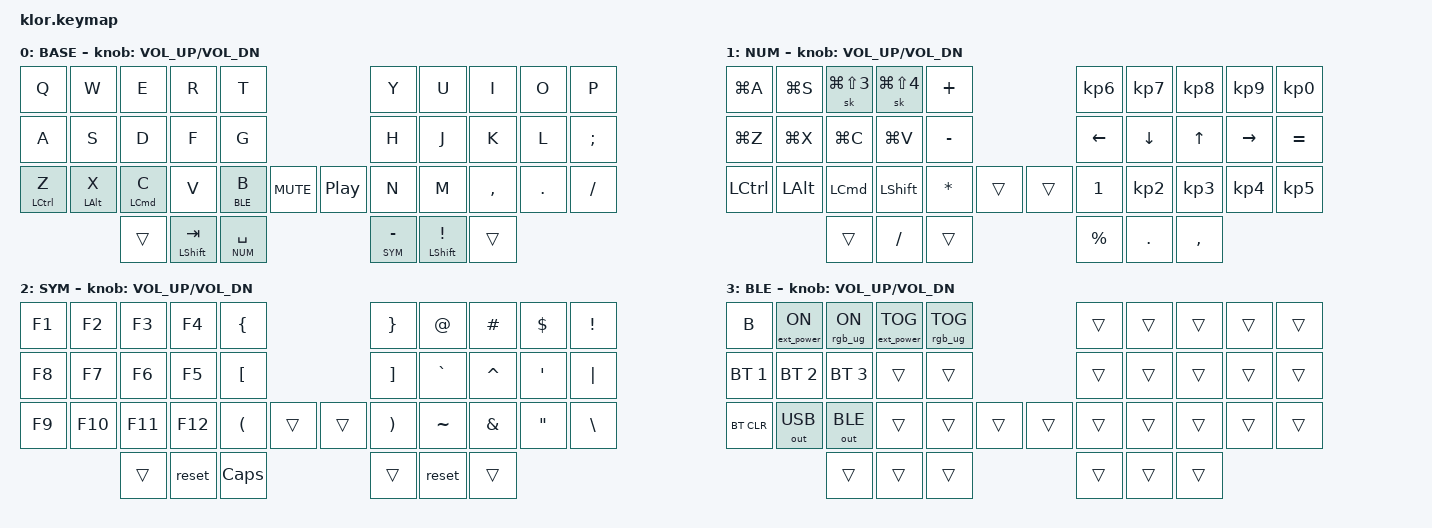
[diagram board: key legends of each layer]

//                               █         █    █            ▄▄▄▀▀▀▀▀▀▄▄▄        █▀▀▀▀▀▀▀▀▀▀█
//                               █        █     █          ▄▀            ▀▄      █          █
//                               █       █      █        ▄▀                ▀▄    █          █
//                               █      █       █        █                  █    █          █
//                               █     █        █       █                    █   █          █
//                               █    █         █       █                    █   █▄▄▄▄▄▄▄▄▄▄█
//                               █   █ █        █       █                    █   █      █
//                               █  █   █       █        █                  █    █       █
//                               █ █     █      █        ▀▄                ▄▀    █        █
//                               ██       █     █          ▀▄            ▄▀      █         █
//                               █         █    █▄▄▄▄▄▄▄▄    ▀▀▀▄▄▄▄▄▄▀▀▀        █          █
//
// ▄▄▄▄▄▄▄▄▄▄▄▄▄▄▄▄▄▄▄▄▄▄▄▄▄▄▄▄▄▄▄▄▄▄▄▄▄▄▄▄▄▄▄▄▄▄▄▄▄▄▄▄▄▄▄▄▄▄▄▄▄▄▄▄▄▄▄▄▄▄▄▄▄▄▄▄▄▄▄▄▄▄▄▄▄▄▄▄▄▄▄▄▄▄▄▄▄▄▄▄▄▄▄▄▄▄▄▄▄▄▄▄▄▄▄▄▄▄▄▄▄▄▄▄▄
       
#include <behaviors.dtsi>
#include <dt-bindings/zmk/keys.h>
#include <dt-bindings/zmk/bt.h>
#include <dt-bindings/zmk/outputs.h>
#include <dt-bindings/zmk/ext_power.h>
#include <dt-bindings/zmk/rgb.h>


#define BASE   0
#define NUM    1
#define SYM    2
#define BLE    3

/ {
    behaviors {
        hm: homerow_mods {
            compatible = "zmk,behavior-hold-tap";
            label = "HOMEROW_MODS";
            #binding-cells = <2>;
            tapping-term-ms = <300>;
            quick_tap_ms = <0>;
            flavor = "tap-preferred";
            bindings = <&kp>, <&kp>;
        };

    };

     combos {
            compatible = "zmk,combos";
     //layers 0
            combo_esc0 {
                timeout-ms = <50>;
                key-positions = <1 2>;
                bindings = <&kp ESC>;
                layers = <0>;
            };
            combo_tab0{
                timeout-ms = <50>;
                key-positions = <11 12>;
                bindings = <&kp TAB>;
                layers = <0>;
             };
       //BS_ENT
            combo_bsp0{
                timeout-ms = <50>;
                key-positions = <16 17>;
                bindings = <&kp BSPC>;
                layers = <0>;
            };
            combo_ent0{
                timeout-ms = <50>;
                key-positions = <17 18>;
                bindings = <&kp ENTER>;
                layers = <0>;
            };
         //Page UP_DN
             combo_pageup0{
                timeout-ms = <50>;
                key-positions = <5 6>;
                bindings = <&kp PG_UP>;
                layers = <0>;
            };
            combo_pagedown0{
                timeout-ms = <50>;
                key-positions = <27 28>;
                bindings = <&kp PG_DN>;
                layers = <0>;
            };
            
      //layers 1
         //BS_ENT
            combo_bsp1{
                timeout-ms = <50>;
                key-positions = <16 17>;
                bindings = <&kp BSPC>;
                layers = <1>;
            };
            combo_ent1{
                timeout-ms = <50>;
                key-positions = <17 18>;
                bindings = <&kp ENTER>;
                layers = <1>;
            };
          //VOLUME_UP_DOWN - BRI_UP_DN
            combo_volup1{
                timeout-ms = <50>;
                key-positions = <5 6>;
                bindings = <&kp C_VOL_UP>;
                layers = <1>;
            };
            combo_voldn1{
                timeout-ms = <50>;
                key-positions = <27 28>;
                bindings = <&kp C_VOL_DN>;
                layers = <1>;
            };
           //BRI_UP_DN
            combo_briup1{
                timeout-ms = <50>;
                key-positions = <13 14>;
                bindings = <&kp C_BRI_DN>;
                layers = <1>;
            };
            combo_bridn1{
                timeout-ms = <50>;
                key-positions = <15 16>;
                bindings = <&kp C_BRI_UP>;
                layers = <1>;
            };
  
            
            
      //layers 2
          //BS_ENT
            combo_bsp2{
                timeout-ms = <50>;
                key-positions = <16 17>;
                bindings = <&kp BSPC>;
                layers = <2>;
            };
            combo_ent2{
                timeout-ms = <50>;
                key-positions = <17 18>;
                bindings = <&kp ENTER>;
                layers = <2>;
            };
    };
    


        keymap {
                compatible = "zmk,keymap";
// ▄▄▄▄▄▄▄▄▄▄▄▄▄▄▄▄▄▄▄▄▄▄▄▄▄▄▄▄▄▄▄▄▄▄▄▄▄▄▄▄▄▄▄▄▄▄▄▄▄▄▄▄▄▄▄▄▄▄▄▄▄▄▄▄▄▄▄▄▄▄▄▄▄▄▄▄▄▄▄▄▄▄▄▄▄▄▄▄▄▄▄▄▄▄▄▄▄▄▄▄▄▄▄▄▄▄▄▄▄▄▄▄▄▄▄▄▄▄▄▄▄▄▄▄▄▄▄▄▄▄▄▄▄▄▄▄▄▄▄▄▄▄


                base_layer {
// ┌───────────────────────────────────────────────────────────┐
label= "BASE"                                                  ;
// └───────────────────────────────────────────────────────────┘
/*
             ┌─────────┬─────────┬─────────┬─────────┬─────────┐                    ┌─────────┬─────────┬─────────┬─────────┬─────────┐
             │    Q    │    W  {ESC}  E    │    R    │    T    │ ╭╮╭╮╭╮╭╮╭╮╭╮╭╮╭╮╭╮ │    Y  {SCU}  U    │    I    │    O    │    P    │
             ├─────────┼─────────┼─────────┼─────────┼─────────┤ │╰╯╰╯╰╯╰╯╰╯╰╯╰╯╰╯│ ├─────────┼─────────┼─────────┼─────────┼─────────┤
             │    A    │    S    │    D    │    F  {SCL}  G    ├─╯                ╰─┤    H  {SCR}  J  {BSP}  K  {ENT}  L    │    ;    │
             ├─────────┼─────────┼─────────┼─────────┼─────────┤╭────────╮╭────────╮├─────────┼─────────┼─────────┼─────────┼─────────┤
             │ (CTL)Z  │ (ALT)X  │ (CMD)C  │    V    │    B    ││  MUTE  ││PLY/PSE ││    N  {SCD}  M    │    ,    │    .    │    /    │
             └─────────┴─────────┼─────────┼─────────┼─────────┤╰────────╯╰────────╯┼─────────┼─────────┼─────────┼─────────┴─────────┘
                                 │         │ SFT*TAB │ NUM*SPC │                    │ SYM * - │ SFT * ! │         │
                                 └─────────┴─────────┴─────────┘                    └─────────┴─────────┴─────────┘ 
                                 &hm LCTRL A &hm LGUI S &hm LALT D &hm LSHIFT F
                                 */ 
 bindings = <
 //╷           ╷           ╷           ╷           ╷           ╷           ╷╷           ╷           ╷           ╷           ╷           ╷           ╷
    &kp Q       &kp W       &kp E       &kp R       &kp T                                &kp Y       &kp U       &kp I       &kp O       &kp P 
    &kp A       &kp S       &kp D       &kp F       &kp G                                &kp H       &kp J       &kp K       &kp L       &kp SEMI  
   &hm LCTRL Z  &hm LALT X  &hm LCMD C  &kp V       &lt BLE B   &kp K_MUTE   &kp C_PP    &kp N       &kp M       &kp COMMA   &kp DOT     &kp FSLH  
                            &trans  &mt LSHIFT TAB  &lt NUM SPACE                    &lt SYM MINUS   &mt LSHIFT EXCL  &trans
                        >;
            sensor-bindings = <&inc_dec_kp C_VOL_UP C_VOL_DN>;
                };

// ▄▄▄▄▄▄▄▄▄▄▄▄▄▄▄▄▄▄▄▄▄▄▄▄▄▄▄▄▄▄▄▄▄▄▄▄▄▄▄▄▄▄▄▄▄▄▄▄▄▄▄▄▄▄▄▄▄▄▄▄▄▄▄▄▄▄▄▄▄▄▄▄▄▄▄▄▄▄▄▄▄▄▄▄▄▄▄▄▄▄▄▄▄▄▄▄▄▄▄▄▄▄▄▄▄▄▄▄▄▄▄▄▄▄▄▄▄▄▄▄▄▄▄▄▄▄▄▄▄▄▄▄▄▄▄▄▄▄▄▄▄▄


                num_layer {
// ┌───────────────────────────────────────────────────────────┐
label= "NUM"                                                   ;
// └───────────────────────────────────────────────────────────┘
/*          
             ┌─────────┬─────────┬─────────┬─────────┬─────────┐                    ┌─────────┬─────────┬─────────┬─────────┬─────────┐
             │  ALLCOPY│   SAVE  │   SCRSF │  SCRS   │    +    │ ╭╮╭╮╭╮╭╮╭╮╭╮╭╮╭╮╭╮ │    6 {VOLU}  7    │    8    │    9    │    0    │
             ├─────────┼─────────┼─────────┼─────────┼─────────┤ │╰╯╰╯╰╯╰╯╰╯╰╯╰╯╰╯│ ├─────────┼─────────┼─────────┼─────────┼─────────┤
             │  UNDO   │   CUT   │   COPY  │ PASTE {BRU}  -    ├─╯                ╰─┤    ←  {BRD}  ↑  {BSP}  ↓  {ENT}  →    │    =    │
             ├─────────┼─────────┼─────────┼─────────┼─────────┤╭────────╮╭────────╮├─────────┼─────────┼─────────┼─────────┼─────────┤
             │  CTL    │   ALT   │   CMD   │   SFT   │    *    ││  MUTE  ││PLY/PSE ││    1 {VOLD}  2    │    3    │    4    │    5    │
             └─────────┴─────────┼─────────┼─────────┼─────────┤╰────────╯╰────────╯┼─────────┼─────────┼─────────┼─────────┴─────────┘
                                 │         │    /    │    ▼    │                    │    %    │    .    │         │
                                 └─────────┴─────────┴─────────┘                    └───-─────┴─────────┴─────────┘*/

 bindings = <
 //╷           ╷           ╷           ╷           ╷           ╷           ╷╷           ╷           ╷           ╷           ╷           ╷           ╷
    &kp LG(A)   &kp LG(S)   &sk LG(LS(N3))  &sk LG(LS(N4))  &kp PLUS                     &kp KP_N6   &kp KP_N7   &kp KP_N8   &kp KP_N9   &kp KP_N0
    &kp LG(Z)   &kp LG(X)   &kp LG(C)   &kp LG(V)   &kp MINUS                            &kp LEFT    &kp DOWN    &kp UP      &kp RIGHT   &kp EQUAL
    &kp LCTRL   &kp LALT    &kp LCMD    &kp LSHFT   &kp STAR    &trans        &trans     &kp N1      &kp KP_N2   &kp KP_N3   &kp KP_N4   &kp KP_N5
                            &trans      &kp SLASH   &trans                               &kp PRCNT   &kp DOT     &kp COMMA
                        >;
            sensor-bindings = <&inc_dec_kp C_VOL_UP C_VOL_DN>;
                };

// ▄▄▄▄▄▄▄▄▄▄▄▄▄▄▄▄▄▄▄▄▄▄▄▄▄▄▄▄▄▄▄▄▄▄▄▄▄▄▄▄▄▄▄▄▄▄▄▄▄▄▄▄▄▄▄▄▄▄▄▄▄▄▄▄▄▄▄▄▄▄▄▄▄▄▄▄▄▄▄▄▄▄▄▄▄▄▄▄▄▄▄▄▄▄▄▄▄▄▄▄▄▄▄▄▄▄▄▄▄▄▄▄▄▄▄▄▄▄▄▄▄▄▄▄▄


                sym_layer {
// ┌───────────────────────────────────────────────────────────┐
label= "SYM"                                                   ;
// └───────────────────────────────────────────────────────────┘
/*        
             ┌─────────┬─────────┬─────────┬─────────┬─────────┐                    ┌─────────┬─────────┬─────────┬─────────┬─────────┐
             │   F1    │   F2    │   F3    │   F4    │    {    │ ╭╮╭╮╭╮╭╮╭╮╭╮╭╮╭╮╭╮ │    }    │    @    │    #    │    $    │    !    │
             ├─────────┼─────────┼─────────┼─────────┼─────────┤ │╰╯╰╯╰╯╰╯╰╯╰╯╰╯╰╯│ ├─────────┼─────────┼─────────┼─────────┼─────────┤
             │   F8    │   F7    │   F6    │   F5    │    [    ├─╯                ╰─┤    ]    │    ` {BSP}   ^  {ENT}  '    │    |    │
             ├─────────┼─────────┼─────────┼─────────┼─────────┤╭────────╮╭────────╮├─────────┼─────────┼─────────┼─────────┼─────────┤
             │   F9    │   F10   │   F11   │   F12   │    (    ││  MUTE  ││PLY/PSE ││    )    │    ~    │    &    │    "    │    \    │
             └─────────┴─────────┼─────────┼─────────┼─────────┼╰────────╯╰────────╯┼─────────┼─────────┼─────────┼─────────┴─────────┘
                                 │         │  RESET  │   CAP   │                    │    ▼    │  RESET  │         │
                                 └─────────┴─────────┴─────────┘                    └─────────┴─────────┴─────────┘ */ 
 bindings = <
 //╷           ╷           ╷           ╷           ╷           ╷           ╷╷          ╷           ╷           ╷           ╷           ╷            ╷
    &kp F1      &kp F2      &kp F3      &kp F4      &kp LBRC                            &kp RBRC    &kp AT      &kp HASH    &kp DLLR    &kp EXCL   
    &kp F8      &kp F7      &kp F6      &kp F5      &kp LBKT                            &kp RBKT    &kp GRAVE   &kp CARET   &kp SQT     &kp PIPE
    &kp F9      &kp F10     &kp F11     &kp F12     &kp LPAR    &trans       &trans     &kp RPAR    &kp TILDE   &kp AMPS    &kp DQT     &kp BSLH    
                            &trans      &reset      &kp CAPS                            &trans      &reset      &trans
                        >;
                sensor-bindings = <&inc_dec_kp C_VOL_UP C_VOL_DN>;
                };
// ▄▄▄▄▄▄▄▄▄▄▄▄▄▄▄▄▄▄▄▄▄▄▄▄▄▄▄▄▄▄▄▄▄▄▄▄▄▄▄▄▄▄▄▄▄▄▄▄▄▄▄▄▄▄▄▄▄▄▄▄▄▄▄▄▄▄▄▄▄▄▄▄▄▄▄▄▄▄▄▄▄▄▄▄▄▄▄▄▄▄▄▄▄▄▄▄▄▄▄▄▄▄▄▄▄▄▄▄▄▄▄▄▄▄▄▄▄▄▄▄▄▄▄▄▄


                ble_layer {
// ┌───────────────────────────────────────────────────────────┐
label= "BLE"                                                   ;
// └───────────────────────────────────────────────────────────┘
/*           
             ┌─────────┬─────────┬─────────┬─────────┬─────────┐                    ┌─────────┬─────────┬─────────┬─────────┬─────────┐
             │    B    │   PON   │  RGB ON │  POWER  │ RGB_TOG │ ╭╮╭╮╭╮╭╮╭╮╭╮╭╮╭╮╭╮ │         │         │         │         │         │
             ├─────────┼─────────┼─────────┼─────────┼─────────┤ │╰╯╰╯╰╯╰╯╰╯╰╯╰╯╰╯│ ├─────────┼─────────┼─────────┼─────────┼─────────┤
             │   BLE1  │   BLE2  │   BLE3  │         │         ├─╯                ╰─┤         │         │         │         │         │
             ├─────────┼─────────┼─────────┼─────────┼─────────┤╭────────╮╭────────╮├─────────┼─────────┼─────────┼─────────┼─────────┤
             │  CLEAR  │   USB   │   BLE   │         │    ▼    ││        ││        ││         │         │         │         │         │
             └─────────┴─────────┼─────────┼─────────┼─────────┼╰────────╯╰────────╯┼─────────┼─────────┼─────────┼─────────┴─────────┘
                                 │         │         │         │                    │         │         │         │
                                 └─────────┴─────────┴─────────┘                    └─────────┴─────────┴─────────┘ 
 */ 
 bindings = <
//╷           ╷           ╷           ╷           ╷           ╷           ╷╷          ╷           ╷           ╷           ╷           ╷            ╷
   &kp B  &ext_power EP_ON   &rgb_ug RGB_ON  &ext_power EP_TOG  &rgb_ug RGB_TOG        &trans      &trans      &trans      &trans      &trans     
   &bt BT_SEL 1  &bt BT_SEL 2  &bt BT_SEL 3  &trans &trans                             &trans      &trans      &trans      &trans      &trans
   &bt BT_CLR  &out OUT_USB  &out OUT_BLE  &trans   &trans     &trans       &trans     &trans      &trans      &trans      &trans      &trans
                           &trans      &trans       &trans                             &trans      &trans      &trans    
                        >;
            sensor-bindings = <&inc_dec_kp C_VOL_UP C_VOL_DN>;
                };
        };
};
